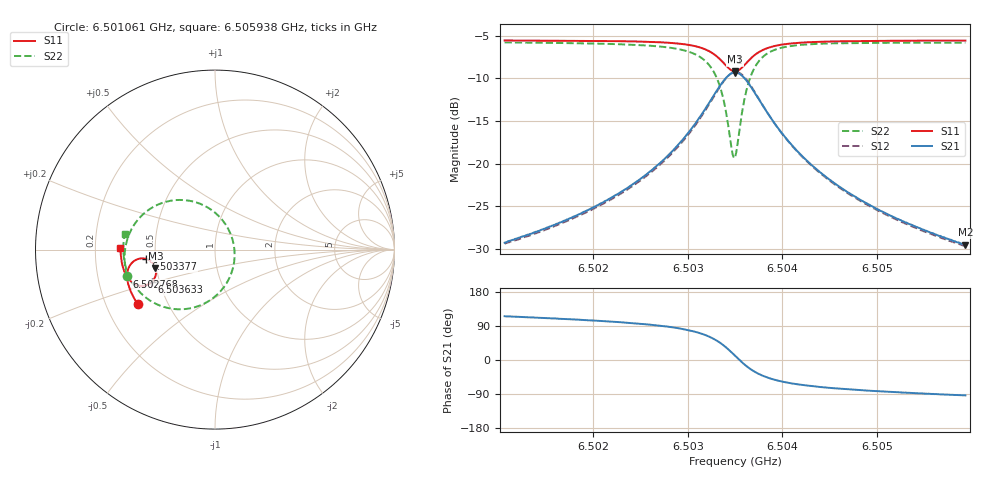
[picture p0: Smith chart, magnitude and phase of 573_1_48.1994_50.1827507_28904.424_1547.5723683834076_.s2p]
#  HZ  S  RI  R  50.00
! Rohde & Schwarz Vector Network Analyzer
! Rohde-Schwarz,ZNB20-2Port,1311601062101988,3.16
! Created: UTC 3/20/2024, 12:01:46 PM
! freq[Hz]  re:S11  im:S11  re:S21  im:S21  re:S12  im:S12  re:S22  im:S22
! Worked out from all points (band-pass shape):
!   401 points, 6.501061 GHz to 6.505938 GHz, reference 50 ohm
!   highest |S21| = -9.32 dB at 6.503499 GHz (marker M1); lowest = -29.5 dB at 6.505938 GHz (marker M2)
!   |S21| within 3 dB of the highest: 6.503257 GHz to 6.503744 GHz (487.4 kHz wide, 0.00749 % of centre)
!   lowest |S11| = -9.2 dB at 6.503499 GHz (marker M3), VSWR 2.06, Z = 24.7 - j5.75 ohm
!   |S11| at or under -10 dB: nowhere
!   |S22| runs from -19.3 to -5.8 dB; largest |S21 - S12| = 0.012
!   S11 on the Smith chart (normalised r, x): 6.501061 GHz: 0.34, -0.28; 6.502768 GHz: 0.33, -0.13; 6.503377 GHz: 0.44, -0.05; 6.503633 GHz: 0.45, -0.19; 6.505938 GHz: 0.31, +0.01
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6.5010608e9  -0.4312 -0.3031  -0.0148 0.0311  -0.0131 0.0312  -0.4923 -0.1458
6.5018777e9  -0.4656 -0.2417  -0.014 0.0494  -0.0116 0.049  -0.5038 -0.0572
6.502341e9  -0.4814 -0.1998  -0.0107 0.0701  -0.00769 0.069  -0.4994 0.0107
6.5026946e9  -0.4891 -0.1596  -0.00129 0.0995  0.0021 0.0973  -0.479 0.0842
6.5027677e9  -0.4897 -0.1496  0.00262 0.1085  0.00616 0.1057  -0.47 0.1037
6.502975e9  -0.486 -0.1162  0.0242 0.1425  0.0276 0.1383  -0.4255 0.1713
6.5031335e9  -0.4712 -0.0839  0.0636 0.1787  0.0663 0.1731  -0.3485 0.2351
6.5032798e9  -0.4333 -0.054  0.1457 0.2078  0.1464 0.2018  -0.1991 0.2767
6.5033286e9  -0.4118 -0.049  0.1886 0.2065  0.1885 0.2013  -0.124 0.2683
6.5033773e9  -0.3863 -0.051  0.2379 0.1914  0.2379 0.1871  -0.0397 0.2341
6.5034627e9  -0.3428 -0.0803  0.3171 0.1167  0.3196 0.113  0.0871 0.0868
6.5034993e9  -0.3317 -0.1026  0.3351 0.0674  0.339 0.0626  0.1086 -0.00553
6.5035236e9  -0.3286 -0.119  0.3387 0.0324  0.3431 0.0262  0.1067 -0.0696
6.5035602e9  -0.3306 -0.1433  0.3316 -0.0183  0.3354 -0.0268  0.0793 -0.1597
6.5036334e9  -0.3529 -0.1811  0.2846 -0.0957  0.285 -0.107  -0.0316 -0.2847
6.5037309e9  -0.3942 -0.2011  0.2056 -0.1398  0.201 -0.1499  -0.1926 -0.3325
6.5038894e9  -0.4442 -0.1937  0.1164 -0.1392  0.1095 -0.1447  -0.3544 -0.2884
6.5040601e9  -0.4735 -0.1726  0.068 -0.1181  0.0617 -0.1206  -0.4333 -0.2208
6.5043161e9  -0.4961 -0.141  0.0347 -0.0911  0.0301 -0.0916  -0.4814 -0.1426
6.5046941e9  -0.5123 -0.1009  0.015 -0.0662  0.0117 -0.0658  -0.5047 -0.0645
6.505133e9  -0.5212 -0.0597  0.00528 -0.0497  0.00291 -0.0491  -0.5107 -0.000848
6.5059377e9  -0.5265 0.00892  -0.00197 -0.0334  -0.00337 -0.0326  -0.5034 0.0861
